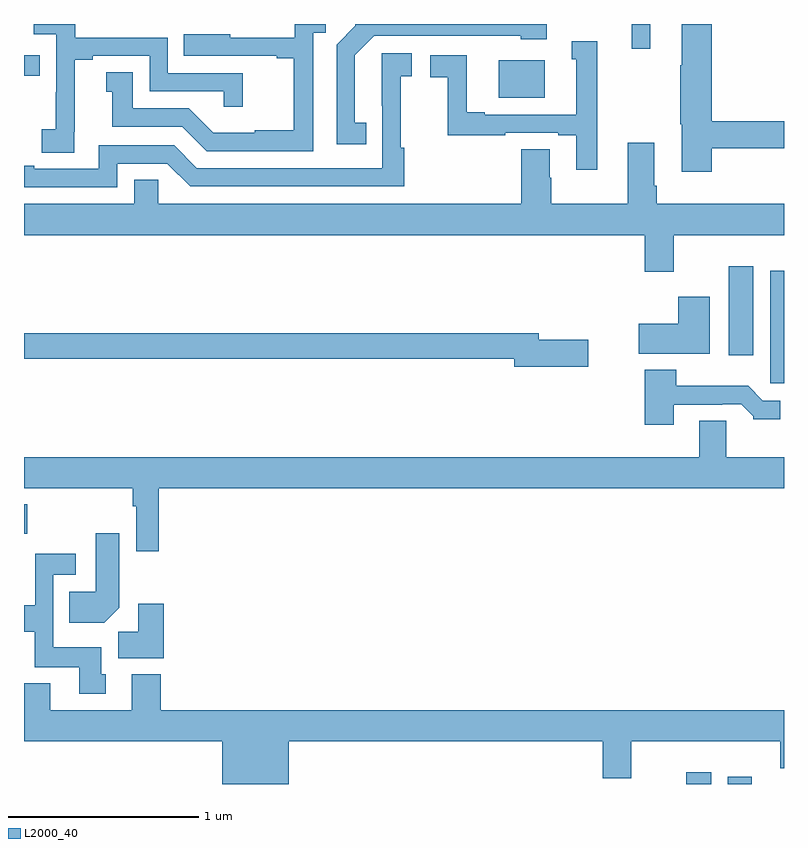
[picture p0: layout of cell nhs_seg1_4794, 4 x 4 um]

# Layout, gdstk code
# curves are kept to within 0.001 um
import gdstk
lib = gdstk.Library(unit=1e-6, precision=1e-09)
def R(c, l, rs):  # rectangles x0, y0, x1, y1
    for r in rs: c.add(gdstk.rectangle(r[:2], r[2:], *l))
def P(c, l, *ps):  # polygons
    for p in ps: c.add(gdstk.Polygon(p, *l))
L2000_40 = (2000, 40)

nhs_seg1_4794 = lib.new_cell('nhs_seg1_4794')
R(nhs_seg1_4794, L2000_40, [(374.486,526.199,374.617,526.261), (374.705,526.199,374.83,526.237), (371,527.515,371.016,527.671), (374.927,528.309,375,528.901), (374.708,528.456,374.839,528.925), (373.499,529.811,373.741,530.008), (371,529.926,371.084,530.034), (374.199,530.07,374.296,530.199)])
P(nhs_seg1_4794, L2000_40, [(372.8,529.679),(372.742,529.679),(372.742,530.035),(372.843,530.136),(373.614,530.136),(373.614,530.12),(373.75,530.12),(373.75,530.199),(372.744,530.199),(372.744,530.189),(372.645,530.09),(372.645,529.566),(372.8,529.566)],
  [(374.621,529.546),(375,529.546),(375,529.688),(374.621,529.688),(374.621,530.199),(374.462,530.199),(374.462,529.982),(374.455,529.982),(374.455,529.671),(374.462,529.671),(374.462,529.422),(374.621,529.422)],
  [(371.264,529.633),(371.266,529.633),(371.266,530.011),(371.362,530.011),(371.362,530.031),(371.661,530.031),(371.661,529.845),(372.051,529.845),(372.051,529.764),(372.152,529.764),(372.152,529.941),(371.757,529.941),(371.757,530.127),(371.27,530.127),(371.27,530.199),(371.052,530.199),(371.052,530.145),(371.169,530.145),(371.169,529.841),(371.168,529.841),(371.168,529.644),(371.094,529.644),(371.094,529.522),(371.264,529.522)],
  [(372.522,530.153),(372.587,530.153),(372.587,530.199),(372.426,530.199),(372.426,530.127),(372.085,530.127),(372.085,530.146),(371.842,530.146),(371.842,530.031),(372.329,530.031),(372.329,530.019),(372.421,530.019),(372.421,529.639),(372.215,529.639),(372.215,529.627),(371.996,529.627),(371.868,529.755),(371.572,529.755),(371.572,529.946),(371.432,529.946),(371.432,529.843),(371.465,529.843),(371.465,529.659),(371.832,529.659),(371.961,529.53),(372.522,529.53)],
  [(374.017,530.107),(373.883,530.107),(373.883,530.013),(373.907,530.013),(373.907,529.722),(373.426,529.722),(373.426,529.735),(373.33,529.735),(373.33,530.034),(373.137,530.034),(373.137,529.918),(373.231,529.918),(373.231,529.614),(373.532,529.614),(373.532,529.626),(373.811,529.626),(373.811,529.614),(373.907,529.614),(373.907,529.431),(374.017,529.431)],
  [(371.49,529.464),(371.754,529.464),(371.874,529.344),(373.001,529.344),(373.001,529.547),(372.984,529.547),(372.984,529.923),(373.042,529.923),(373.042,530.044),(372.884,530.044),(372.885,529.44),(371.91,529.44),(371.79,529.56),(371.394,529.56),(371.394,529.437),(371.053,529.437),(371.053,529.452),(371,529.452),(371,529.341),(371.49,529.341)],
  [(374.419,529.088),(375,529.088),(375,529.252),(374.33,529.252),(374.33,529.348),(374.317,529.348),(374.317,529.573),(374.177,529.573),(374.177,529.252),(373.776,529.252),(373.776,529.391),(373.768,529.391),(373.768,529.541),(373.616,529.541),(373.616,529.252),(371.706,529.252),(371.706,529.379),(371.579,529.379),(371.579,529.252),(371,529.252),(371,529.088),(374.267,529.088),(374.267,528.894),(374.419,528.894)],
  [(374.608,528.763),(374.444,528.763),(374.444,528.622),(374.235,528.622),(374.235,528.464),(374.608,528.464)],
  [(373.969,528.536),(373.708,528.536),(373.708,528.572),(371,528.572),(371,528.436),(373.58,528.436),(373.58,528.394),(373.969,528.394)],
  [(374.419,528.195),(374.675,528.195),(374.675,528.198),(374.774,528.198),(374.838,528.134),(374.838,528.119),(374.98,528.119),(374.98,528.216),(374.889,528.216),(374.811,528.295),(374.432,528.295),(374.432,528.379),(374.267,528.379),(374.267,528.09),(374.419,528.09)],
  [(371.708,527.756),(375,527.756),(375,527.92),(374.695,527.92),(374.695,528.11),(374.555,528.11),(374.555,527.92),(371,527.92),(371,527.756),(371.572,527.756),(371.572,527.66),(371.592,527.66),(371.592,527.424),(371.708,527.424)],
  [(371.5,527.126),(371.5,527.518),(371.378,527.518),(371.378,527.212),(371.239,527.212),(371.239,527.048),(371.422,527.048)],
  [(371.431,526.776),(371.407,526.776),(371.407,526.918),(371.154,526.918),(371.154,527.301),(371.272,527.301),(371.272,527.41),(371.058,527.41),(371.058,527.14),(371,527.14),(371,527),(371.056,527),(371.056,526.814),(371.291,526.814),(371.291,526.674),(371.431,526.674)],
  [(371.735,527.149),(371.6,527.149),(371.6,527),(371.495,527),(371.495,526.862),(371.735,526.862)],
  [(372.394,526.424),(374.045,526.424),(374.045,526.23),(374.197,526.23),(374.197,526.424),(374.981,526.424),(374.981,526.283),(375,526.283),(375,526.588),(371.72,526.588),(371.72,526.777),(371.567,526.777),(371.567,526.588),(371.137,526.588),(371.137,526.729),(371,526.729),(371,526.424),(372.044,526.424),(372.044,526.199),(372.394,526.199)])

lib.write_gds('nhs_seg1_4794.gds')
